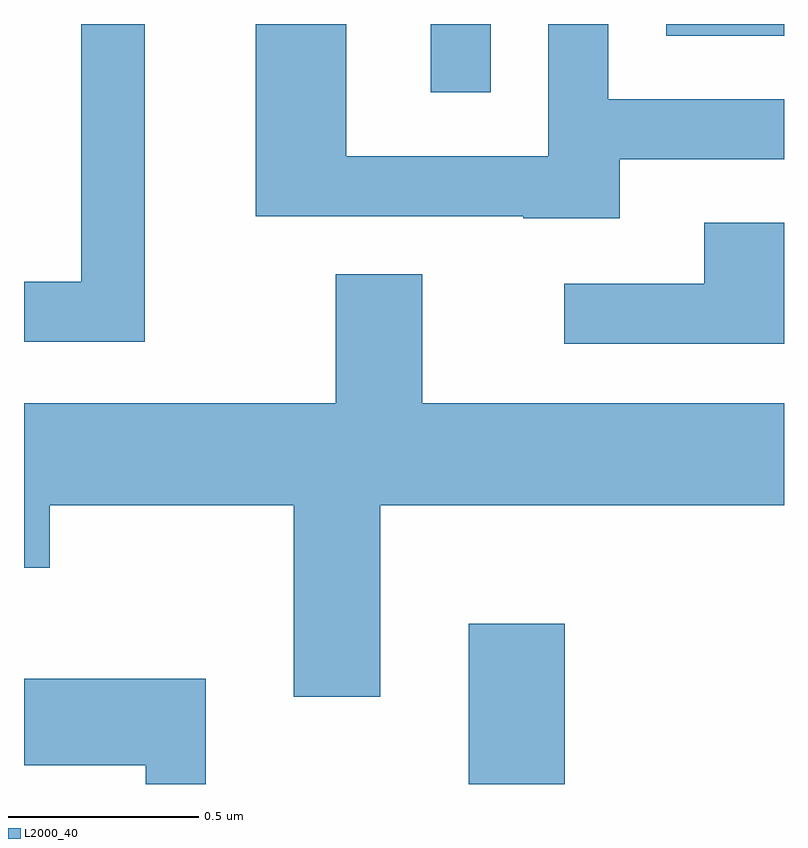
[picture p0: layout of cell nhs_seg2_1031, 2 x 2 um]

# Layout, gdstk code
import gdstk
lib = gdstk.Library(unit=1e-6, precision=1e-09)
def R(c, l, rs):  # rectangles x0, y0, x1, y1
    for r in rs: c.add(gdstk.rectangle(r[:2], r[2:], *l))
def P(c, l, *ps):  # polygons
    for p in ps: c.add(gdstk.Polygon(p, *l))
L2000_40 = (2000, 40)

nhs_seg2_1031 = lib.new_cell('nhs_seg2_1031')
R(nhs_seg2_1031, L2000_40, [(193.781,1049.802,194.034,1050.224), (193.681,1051.623,193.839,1051.802), (194.301,1051.771,194.611,1051.802)])
P(nhs_seg2_1031, L2000_40, [(194.179,1051.446),(194.611,1051.446),(194.611,1051.604),(194.149,1051.604),(194.149,1051.802),(193.991,1051.802),(193.991,1051.454),(193.459,1051.454),(193.459,1051.802),(193.221,1051.802),(193.221,1051.296),(193.925,1051.296),(193.925,1051.291),(194.179,1051.291)],
  [(192.929,1051.802),(192.761,1051.802),(192.761,1051.124),(192.611,1051.124),(192.611,1050.966),(192.929,1050.966)],
  [(194.611,1051.279),(194.401,1051.279),(194.401,1051.119),(194.033,1051.119),(194.033,1050.961),(194.611,1050.961)],
  [(193.549,1050.536),(194.611,1050.536),(194.611,1050.804),(193.659,1050.804),(193.659,1051.144),(193.431,1051.144),(193.431,1050.804),(192.611,1050.804),(192.611,1050.371),(192.679,1050.371),(192.679,1050.536),(193.321,1050.536),(193.321,1050.031),(193.549,1050.031)],
  [(193.089,1050.079),(192.611,1050.079),(192.611,1049.851),(192.931,1049.851),(192.931,1049.802),(193.089,1049.802)])

lib.write_gds('nhs_seg2_1031.gds')
